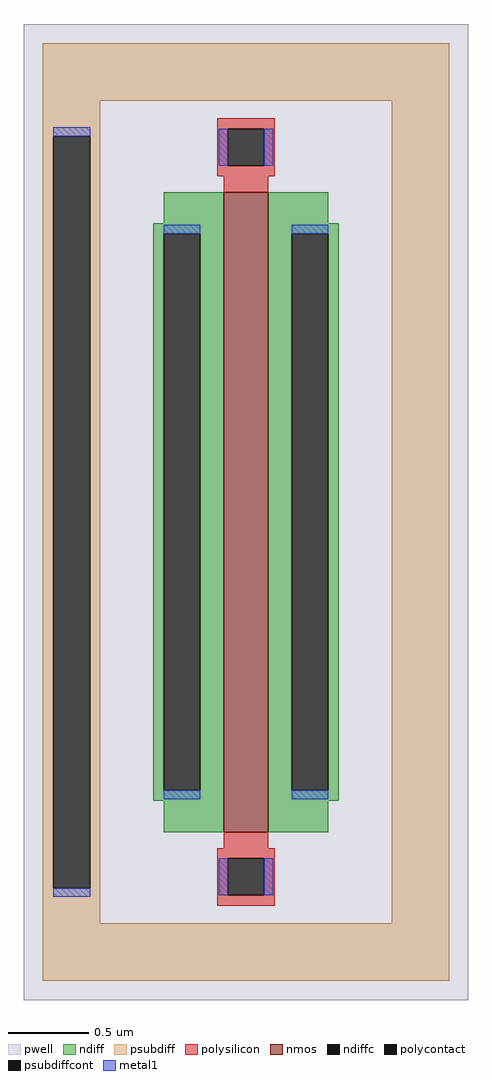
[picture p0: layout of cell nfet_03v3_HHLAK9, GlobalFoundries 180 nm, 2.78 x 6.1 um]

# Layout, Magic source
magic
tech gf180mcuD
magscale 1 10
<< pwell >>
rect -278 -610 278 610
<< nmos >>
rect -28 -400 28 400
<< ndiff >>
rect -103 361 -28 400
rect -116 348 -28 361
rect -116 -348 -103 348
rect -57 -348 -28 348
rect -116 -361 -28 -348
rect -103 -400 -28 -361
rect 28 361 103 400
rect 28 348 116 361
rect 28 -348 57 348
rect 103 -348 116 348
rect 28 -361 116 -348
rect 28 -400 103 -361
<< ndiffc >>
rect -103 -348 -57 348
rect 57 -348 103 348
<< psubdiff >>
rect -254 514 254 586
rect -254 470 -182 514
rect -254 -470 -241 470
rect -195 -470 -182 470
rect -254 -514 -182 -470
rect 182 -514 254 514
rect -254 -586 254 -514
<< psubdiffcont >>
rect -241 -470 -195 470
<< polysilicon >>
rect -36 479 36 492
rect -36 433 -23 479
rect 23 433 36 479
rect -36 420 36 433
rect -28 400 28 420
rect -28 -420 28 -400
rect -36 -433 36 -420
rect -36 -479 -23 -433
rect 23 -479 36 -433
rect -36 -492 36 -479
<< polycontact >>
rect -23 433 23 479
rect -23 -479 23 -433
<< metal1 >>
rect -241 470 -195 481
rect -34 433 -23 479
rect 23 433 34 479
rect -103 348 -57 359
rect -103 -359 -57 -348
rect 57 348 103 359
rect 57 -359 103 -348
rect -241 -481 -195 -470
rect -34 -479 -23 -433
rect 23 -479 34 -433
<< properties >>
string FIXED_BBOX -218 -550 218 550
string gencell nfet_03v3
string library gf180mcu
string parameters w 4 l 0.280 m 1 nf 1 diffcov 90 polycov 100 guard 1 glc 1 grc 0 gtc 0 gbc 0 tbcov 100 rlcov 100 topc 1 botc 1 poverlap 0 doverlap 1 lmin 0.28 wmin 0.22 class mosfet full_metal 0 compatible {nfet_03v3 nfet_05v0 nfet_06v0 nfet_06v0_nvt}
<< end >>
